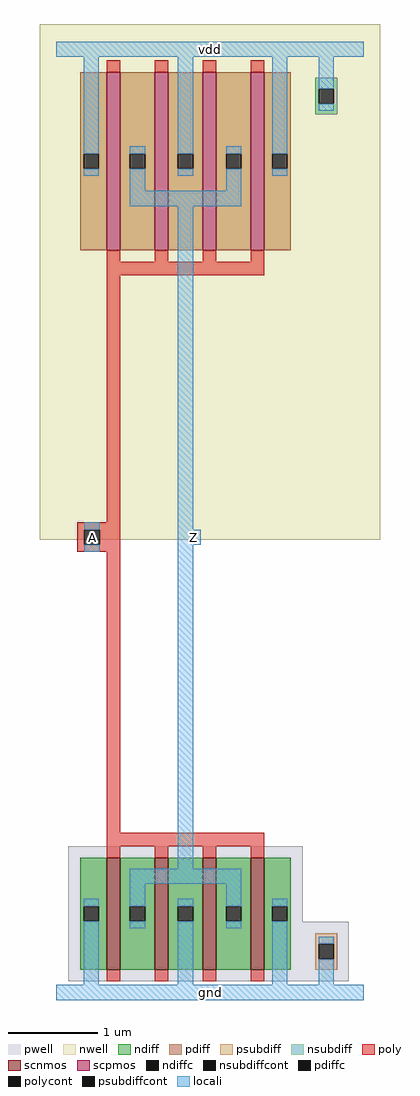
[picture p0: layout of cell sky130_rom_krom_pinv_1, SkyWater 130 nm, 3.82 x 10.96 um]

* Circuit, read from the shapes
.subckt sky130_rom_krom_pinv_1 A Z gnd vdd
XM1 Z A gnd gnd sky130_fd_pr__nfet_01v8 w=1.26 l=0.15 m=4
XM2 Z A vdd vdd sky130_fd_pr__pfet_01v8 w=2 l=0.15 m=4
.ends

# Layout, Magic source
magic
tech sky130A
magscale 1 2
<< nwell >>
rect -36 1017 728 2176
<< pwell >>
rect 28 159 554 329
rect 28 25 658 159
<< scnmos >>
rect 114 51 144 303
rect 222 51 252 303
rect 330 51 360 303
rect 438 51 468 303
<< scpmos >>
rect 114 1668 144 2068
rect 222 1668 252 2068
rect 330 1668 360 2068
rect 438 1668 468 2068
<< ndiff >>
rect 54 194 114 303
rect 54 160 62 194
rect 96 160 114 194
rect 54 51 114 160
rect 144 194 222 303
rect 144 160 166 194
rect 200 160 222 194
rect 144 51 222 160
rect 252 194 330 303
rect 252 160 274 194
rect 308 160 330 194
rect 252 51 330 160
rect 360 194 438 303
rect 360 160 382 194
rect 416 160 438 194
rect 360 51 438 160
rect 468 194 528 303
rect 468 160 486 194
rect 520 160 528 194
rect 468 51 528 160
<< pdiff >>
rect 54 1885 114 2068
rect 54 1851 62 1885
rect 96 1851 114 1885
rect 54 1668 114 1851
rect 144 1885 222 2068
rect 144 1851 166 1885
rect 200 1851 222 1885
rect 144 1668 222 1851
rect 252 1885 330 2068
rect 252 1851 274 1885
rect 308 1851 330 1885
rect 252 1668 330 1851
rect 360 1885 438 2068
rect 360 1851 382 1885
rect 416 1851 438 1885
rect 360 1668 438 1851
rect 468 1885 528 2068
rect 468 1851 486 1885
rect 520 1851 528 1885
rect 468 1668 528 1851
<< ndiffc >>
rect 62 160 96 194
rect 166 160 200 194
rect 274 160 308 194
rect 382 160 416 194
rect 486 160 520 194
<< pdiffc >>
rect 62 1851 96 1885
rect 166 1851 200 1885
rect 274 1851 308 1885
rect 382 1851 416 1885
rect 486 1851 520 1885
<< psubdiff >>
rect 582 109 632 133
rect 582 75 590 109
rect 624 75 632 109
rect 582 51 632 75
<< nsubdiff >>
rect 582 2031 632 2055
rect 582 1997 590 2031
rect 624 1997 632 2031
rect 582 1973 632 1997
<< psubdiffcont >>
rect 590 75 624 109
<< nsubdiffcont >>
rect 590 1997 624 2031
<< poly >>
rect 114 2068 144 2094
rect 222 2068 252 2094
rect 330 2068 360 2094
rect 438 2068 468 2094
rect 114 1642 144 1668
rect 222 1642 252 1668
rect 330 1642 360 1668
rect 438 1642 468 1668
rect 114 1612 468 1642
rect 114 1056 144 1612
rect 48 1040 144 1056
rect 48 1006 64 1040
rect 98 1006 144 1040
rect 48 990 144 1006
rect 114 359 144 990
rect 114 329 468 359
rect 114 303 144 329
rect 222 303 252 329
rect 330 303 360 329
rect 438 303 468 329
rect 114 25 144 51
rect 222 25 252 51
rect 330 25 360 51
rect 438 25 468 51
<< polycont >>
rect 64 1006 98 1040
<< locali >>
rect 0 2102 692 2136
rect 62 1885 96 2102
rect 62 1835 96 1851
rect 166 1885 200 1901
rect 166 1801 200 1851
rect 274 1885 308 2102
rect 274 1835 308 1851
rect 382 1885 416 1901
rect 382 1801 416 1851
rect 486 1885 520 2102
rect 590 2031 624 2102
rect 590 1981 624 1997
rect 486 1835 520 1851
rect 166 1767 416 1801
rect 64 1040 98 1056
rect 64 990 98 1006
rect 274 1040 308 1767
rect 274 1006 325 1040
rect 274 278 308 1006
rect 166 244 416 278
rect 62 194 96 210
rect 62 17 96 160
rect 166 194 200 244
rect 166 144 200 160
rect 274 194 308 210
rect 274 17 308 160
rect 382 194 416 244
rect 382 144 416 160
rect 486 194 520 210
rect 486 17 520 160
rect 590 109 624 125
rect 590 17 624 75
rect 0 -17 692 17
<< labels >>
rlabel locali s 81 1023 81 1023 4 A
port 1 nsew
rlabel locali s 308 1023 308 1023 4 Z
port 2 nsew
rlabel locali s 346 0 346 0 4 gnd
port 3 nsew
rlabel locali s 346 2119 346 2119 4 vdd
port 4 nsew
<< properties >>
string FIXED_BBOX 0 0 692 1784
<< end >>
